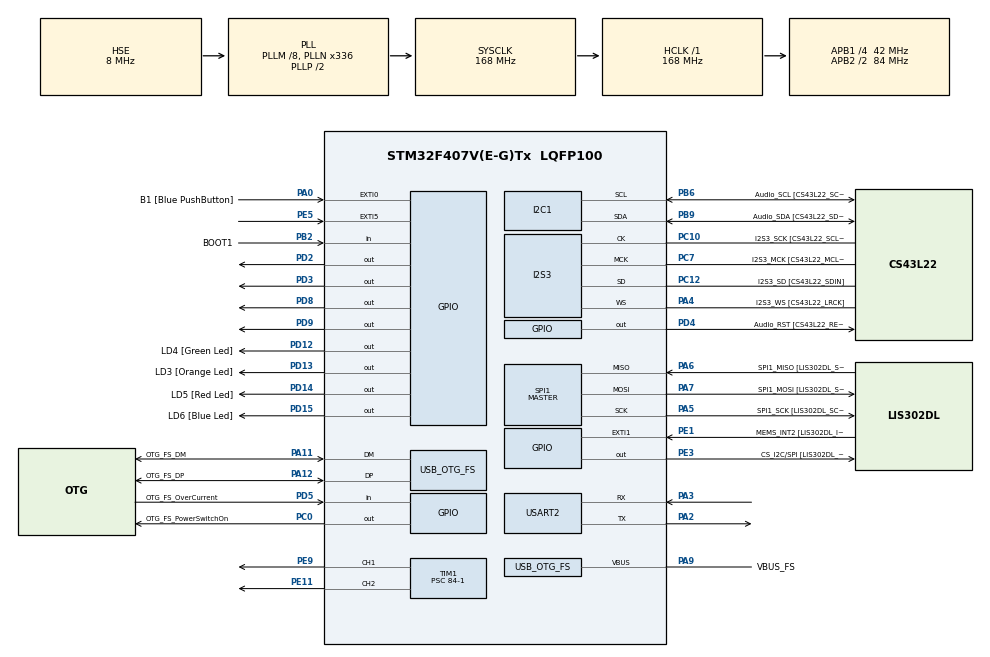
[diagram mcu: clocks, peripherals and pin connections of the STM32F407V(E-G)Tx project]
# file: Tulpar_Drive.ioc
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I2S3.AudioFreq-Half_Duplex_Master=I2S_AUDIOFREQ_96K
I2S3.ErrorAudioFreq=-2.34 %
I2S3.ErrorAudioFreq-Half_Duplex_Master=0.8 %
I2S3.FullDuplexMode=I2S_FULLDUPLEXMODE_DISABLE
I2S3.Instance=SPI$Index
I2S3.RealAudioFreq=93.75 KHz
I2S3.RealAudioFreq-Half_Duplex_Master=96.774 KHz
I2S3.VirtualMode=I2S_MODE_MASTER
Mcu.Family=STM32F4
Mcu.Name=STM32F407V(E-G)Tx
Mcu.Package=LQFP100
NVIC.EXTI9_5_IRQn=true\:0\:0\:false\:false\:true\:true\:true\:true
NVIC.OTG_FS_IRQn=true\:0\:0\:false\:false\:true\:true\:true\:true
NVIC.PriorityGroup=NVIC_PRIORITYGROUP_0
PA0-WKUP.GPIO_Label=B1 [Blue PushButton]
PA0-WKUP.GPIO_ModeDefaultEXTI=GPIO_MODE_EVT_RISING
PA0-WKUP.GPIO_PuPd=GPIO_NOPULL
PA0-WKUP.Signal=GPXTI0
PA10.GPIO_Label=OTG_FS_ID
PA10.GPIO_Mode=GPIO_MODE_AF_PP
PA10.GPIO_PuPd=GPIO_NOPULL
PA10.GPIO_Speed=GPIO_SPEED_FREQ_LOW
PA10.Signal=USB_OTG_FS_ID
PA11.GPIO_Label=OTG_FS_DM
PA11.GPIO_Mode=GPIO_MODE_AF_PP
PA11.GPIO_PuPd=GPIO_NOPULL
PA11.GPIO_Speed=GPIO_SPEED_FREQ_LOW
PA11.Mode=Host_Only
PA11.Signal=USB_OTG_FS_DM
PA12.GPIO_Label=OTG_FS_DP
PA12.GPIO_Mode=GPIO_MODE_AF_PP
PA12.GPIO_PuPd=GPIO_NOPULL
PA12.GPIO_Speed=GPIO_SPEED_FREQ_LOW
PA12.Mode=Host_Only
PA12.Signal=USB_OTG_FS_DP
PA13.GPIO_Label=SWDIO
PA13.Mode=Serial_Wire
PA13.Signal=SYS_JTMS-SWDIO
PA14.GPIO_Label=SWCLK
PA14.Mode=Serial_Wire
PA14.Signal=SYS_JTCK-SWCLK
PA2.Mode=Asynchronous
PA2.Signal=USART2_TX
PA3.Mode=Asynchronous
PA3.Signal=USART2_RX
PA4.GPIO_Label=I2S3_WS [CS43L22_LRCK]
PA4.GPIO_Mode=GPIO_MODE_AF_PP
PA4.GPIO_PuPd=GPIO_NOPULL
PA4.GPIO_Speed=GPIO_SPEED_FREQ_LOW
PA4.Mode=Half_Duplex_Master
PA4.Signal=I2S3_WS
PA5.GPIO_Label=SPI1_SCK [LIS302DL_SCL/SPC]
PA5.GPIO_Mode=GPIO_MODE_AF_PP
PA5.GPIO_PuPd=GPIO_NOPULL
PA5.GPIO_Speed=GPIO_SPEED_FREQ_LOW
PA5.Mode=Full_Duplex_Master
PA5.Signal=SPI1_SCK
PA6.GPIO_Label=SPI1_MISO [LIS302DL_SDO]
PA6.GPIO_Mode=GPIO_MODE_AF_PP
PA6.GPIO_PuPd=GPIO_NOPULL
PA6.GPIO_Speed=GPIO_SPEED_FREQ_LOW
PA6.Mode=Full_Duplex_Master
PA6.Signal=SPI1_MISO
PA7.GPIO_Label=SPI1_MOSI [LIS302DL_SDA/SDI/SDO]
PA7.GPIO_Mode=GPIO_MODE_AF_PP
PA7.GPIO_PuPd=GPIO_NOPULL
PA7.GPIO_Speed=GPIO_SPEED_FREQ_LOW
PA7.Mode=Full_Duplex_Master
PA7.Signal=SPI1_MOSI
PA9.GPIO_Label=VBUS_FS
PA9.GPIO_Mode=GPIO_MODE_INPUT
PA9.GPIO_PuPd=GPIO_NOPULL
PA9.Mode=Activate_VBUS
PA9.Signal=USB_OTG_FS_VBUS
PB10.GPIO_Label=CLK_IN [MP45DT02_CLK]
PB10.GPIO_Mode=GPIO_MODE_AF_PP
PB10.GPIO_PuPd=GPIO_NOPULL
PB10.GPIO_Speed=GPIO_SPEED_FREQ_LOW
PB10.Signal=I2S2_CK
PB2.GPIO_Label=BOOT1
PB2.GPIO_Mode=GPIO_MODE_INPUT
PB2.GPIO_PuPd=GPIO_NOPULL
PB2.Signal=GPIO_Input
PB3.GPIO_Label=SWO
PB3.Signal=SYS_JTDO-SWO
PB6.GPIO_Label=Audio_SCL [CS43L22_SCL]
PB6.GPIO_Mode=GPIO_MODE_AF_OD
PB6.GPIO_Pu=GPIO_PULLUP
PB6.GPIO_PuPd=GPIO_NOPULL
PB6.GPIO_Speed=GPIO_SPEED_FREQ_LOW
PB6.Mode=I2C
PB6.Signal=I2C1_SCL
PB9.GPIO_Label=Audio_SDA [CS43L22_SDA]
PB9.GPIO_Mode=GPIO_MODE_AF_OD
PB9.GPIO_Pu=GPIO_PULLUP
PB9.GPIO_PuPd=GPIO_NOPULL
PB9.GPIO_Speed=GPIO_SPEED_FREQ_LOW
PB9.Mode=I2C
PB9.Signal=I2C1_SDA
PC0.GPIO_Label=OTG_FS_PowerSwitchOn
PC0.GPIO_PuPd=GPIO_NOPULL
PC0.GPIO_Speed=GPIO_SPEED_FREQ_LOW
PC0.PinState=GPIO_PIN_SET
PC0.Signal=GPIO_Output
PC10.GPIO_Label=I2S3_SCK [CS43L22_SCLK]
PC10.GPIO_Mode=GPIO_MODE_AF_PP
PC10.GPIO_PuPd=GPIO_NOPULL
PC10.GPIO_Speed=GPIO_SPEED_FREQ_LOW
PC10.Mode=Half_Duplex_Master
PC10.Signal=I2S3_CK
PC12.GPIO_Label=I2S3_SD [CS43L22_SDIN]
PC12.GPIO_Mode=GPIO_MODE_AF_PP
PC12.GPIO_PuPd=GPIO_NOPULL
PC12.GPIO_Speed=GPIO_SPEED_FREQ_LOW
PC12.Mode=Half_Duplex_Master
PC12.Signal=I2S3_SD
PC14-OSC32_IN.GPIO_Label=PC14-OSC32_IN
PC14-OSC32_IN.Mode=LSE-External-Oscillator
PC14-OSC32_IN.Signal=RCC_OSC32_IN
PC15-OSC32_OUT.GPIO_Label=PC15-OSC32_OUT
PC15-OSC32_OUT.Mode=LSE-External-Oscillator
PC15-OSC32_OUT.Signal=RCC_OSC32_OUT
PC3.GPIO_Label=PDM_OUT [MP45DT02_DOUT]
PC3.GPIO_Mode=GPIO_MODE_AF_PP
PC3.GPIO_PuPd=GPIO_NOPULL
PC3.GPIO_Speed=GPIO_SPEED_FREQ_LOW
PC3.Signal=I2S2_SD
PC7.GPIO_Label=I2S3_MCK [CS43L22_MCLK]
PC7.GPIO_Mode=GPIO_MODE_AF_PP
PC7.GPIO_PuPd=GPIO_NOPULL
PC7.GPIO_Speed=GPIO_SPEED_FREQ_LOW
PC7.Mode=Master_Clock_Activated
PC7.Signal=I2S3_MCK
PD12.GPIO_Label=LD4 [Green Led]
PD12.GPIO_PuPd=GPIO_NOPULL
PD12.GPIO_Speed=GPIO_SPEED_FREQ_LOW
PD12.Signal=GPIO_Output
PD13.GPIO_Label=LD3 [Orange Led]
PD13.GPIO_PuPd=GPIO_NOPULL
PD13.GPIO_Speed=GPIO_SPEED_FREQ_LOW
PD13.Signal=GPIO_Output
PD14.GPIO_Label=LD5 [Red Led]
PD14.GPIO_PuPd=GPIO_NOPULL
PD14.GPIO_Speed=GPIO_SPEED_FREQ_LOW
PD14.Signal=GPIO_Output
PD15.GPIO_Label=LD6 [Blue Led]
PD15.GPIO_PuPd=GPIO_NOPULL
PD15.GPIO_Speed=GPIO_SPEED_FREQ_LOW
PD15.Signal=GPIO_Output
PD2.Signal=GPIO_Output
PD3.Signal=GPIO_Output
PD4.GPIO_Label=Audio_RST [CS43L22_RESET]
PD4.GPIO_PuPd=GPIO_NOPULL
PD4.GPIO_Speed=GPIO_SPEED_FREQ_LOW
PD4.Signal=GPIO_Output
PD5.GPIO_Label=OTG_FS_OverCurrent
PD5.GPIO_Mode=GPIO_MODE_INPUT
PD5.GPIO_PuPd=GPIO_NOPULL
PD5.Signal=GPIO_Input
PD8.Signal=GPIO_Output
PD9.Signal=GPIO_Output
PE1.GPIO_Label=MEMS_INT2 [LIS302DL_INT2]
PE1.GPIO_ModeDefaultEXTI=GPIO_MODE_EVT_RISING
PE1.GPIO_PuPd=GPIO_NOPULL
PE1.Signal=GPXTI1
PE11.Signal=S_TIM1_CH2
PE3.GPIO_Label=CS_I2C/SPI [LIS302DL_CS_I2C/SPI]
PE3.GPIO_PuPd=GPIO_NOPULL
PE3.GPIO_Speed=GPIO_SPEED_FREQ_LOW
PE3.Signal=GPIO_Output
PE5.GPIO_ModeDefaultEXTI=GPIO_MODE_IT_RISING_FALLING
PE5.GPIO_PuPd=GPIO_PULLUP
PE5.Signal=GPXTI5
PE9.Signal=S_TIM1_CH1
PH0-OSC_IN.GPIO_Label=PH0-OSC_IN
PH0-OSC_IN.Mode=HSE-External-Oscillator
PH0-OSC_IN.Signal=RCC_OSC_IN
PH1-OSC_OUT.GPIO_Label=PH1-OSC_OUT
PH1-OSC_OUT.Mode=HSE-External-Oscillator
PH1-OSC_OUT.Signal=RCC_OSC_OUT
ProjectManager.HeapSize=0x200
ProjectManager.StackSize=0x400
ProjectManager.TargetToolchain=STM32CubeIDE
RCC.48MHZClocksFreq_Value=48000000
RCC.AHBFreq_Value=168000000
RCC.APB1CLKDivider=RCC_HCLK_DIV4
RCC.APB1Freq_Value=42000000
RCC.APB1TimFreq_Value=84000000
RCC.APB2CLKDivider=RCC_HCLK_DIV2
RCC.APB2Freq_Value=84000000
RCC.APB2TimFreq_Value=168000000
RCC.CortexFreq_Value=168000000
RCC.HCLKFreq_Value=168000000
RCC.HSE_VALUE=8000000
RCC.HSI_VALUE=16000000
RCC.PLLM=8
RCC.PLLN=336
RCC.PLLQ=7
RCC.SYSCLKFreq_VALUE=168000000
RCC.SYSCLKSource=RCC_SYSCLKSOURCE_PLLCLK
RCC.VCOOutputFreq_Value=336000000
SH.S_TIM1_CH1.0=TIM1_CH1,PWM Generation1 CH1
SH.S_TIM1_CH2.0=TIM1_CH2,PWM Generation2 CH2
SPI1.BaudRatePrescaler-Full_Duplex_Master=SPI_BAUDRATEPRESCALER_2
SPI1.CalculateBaudRate-Full_Duplex_Master=42.0 MBits/s
SPI1.Direction=SPI_DIRECTION_2LINES
SPI1.Mode=SPI_MODE_MASTER
SPI1.Mode-Full_Duplex_Master=SPI_MODE_MASTER
SPI1.VirtualType=VM_MASTER
TIM1.Channel-PWM\ Generation1\ CH1=TIM_CHANNEL_1
TIM1.Channel-PWM\ Generation2\ CH2=TIM_CHANNEL_2
TIM1.Period=125-1
TIM1.Prescaler=84-1
TIM2.AutoReloadPreload=TIM_AUTORELOAD_PRELOAD_DISABLE
USART2.VirtualMode=VM_ASYNC
USB_HOST.BSP.number=1
USB_HOST.USBH_HandleTypeDef-CDC_FS=hUsbHostFS
USB_HOST.VirtualModeFS=Cdc
USB_HOST0.BSP.STBoard=false
USB_HOST0.BSP.api=Unknown
USB_HOST0.BSP.instance=PC0
USB_HOST0.BSP.ip=GPIO
USB_HOST0.BSP.mode=Output
USB_HOST0.BSP.name=Drive_VBUS_FS
USB_HOST0.BSP.solution=PC0
USB_OTG_FS.VirtualMode=Host_Only
USB_OTG_FS.phy_itface=HCD_PHY_EMBEDDED
VP_TIM1_VS_ClockSourceINT.Mode=Internal
VP_TIM2_VS_ClockSourceINT.Mode=Internal
VP_USB_HOST_VS_USB_HOST_CDC_FS.Mode=CDC_FS
board=STM32F407G-DISC1

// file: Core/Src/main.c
/* USER CODE BEGIN Header */
/**
  ******************************************************************************
  * @file           : main.c
  * @brief          : Main program body
  ******************************************************************************
  * @attention
  *
  * Copyright (c) 2024 STMicroelectronics.
  * All rights reserved.
  *
  * This software is licensed under terms that can be found in the LICENSE file
  * in the root directory of this software component.
  * If no LICENSE file comes with this software, it is provided AS-IS.
  *
  ******************************************************************************
  */
/* USER CODE END Header */
#include "main.h"
#include "usb_host.h"

I2C_HandleTypeDef hi2c1;

I2S_HandleTypeDef hi2s3;

SPI_HandleTypeDef hspi1;

TIM_HandleTypeDef htim1;
TIM_HandleTypeDef htim2;

UART_HandleTypeDef huart2;

void SystemClock_Config(void);
static void MX_GPIO_Init(void);
static void MX_I2C1_Init(void);
static void MX_I2S3_Init(void);
static void MX_SPI1_Init(void);
static void MX_TIM1_Init(void);
static void MX_USART2_UART_Init(void);
static void MX_TIM2_Init(void);
void MX_USB_HOST_Process(void);

/* USER CODE BEGIN 0 */
extern volatile uint32_t starttime;
extern volatile uint32_t endtime;
extern volatile float pulsewidth;
extern volatile uint32_t count;
extern volatile uint32_t dutycycle;
uint32_t counter = 0;
uint32_t dutycycle_rewerse=0;
uint32_t dutycycle_forward=0;

/* USER CODE END 0 */

int main(void)
{

  /* MCU Configuration--------------------------------------------------------*/

  /* Reset of all peripherals, Initializes the Flash interface and the Systick. */
  HAL_Init();

  /* Configure the system clock */
  SystemClock_Config();

  /* Initialize all configured peripherals */
  MX_GPIO_Init();
  MX_I2C1_Init();
  MX_I2S3_Init();
  MX_SPI1_Init();
  MX_USB_HOST_Init();
  MX_TIM1_Init();
  MX_USART2_UART_Init();
  MX_TIM2_Init();
  /* USER CODE BEGIN 2 */
  HAL_TIM_Base_Start(&htim2);
  HAL_TIM_PWM_Start(&htim1, TIM_CHANNEL_1);
  /* USER CODE END 2 */

  /* Infinite loop */
  while (1)
  {
    MX_USB_HOST_Process();

    /* USER CODE BEGIN 3 */
    dutycycle=pulsewidth;

	if(dutycycle<=62)
	{
		if(dutycycle>0){
			  HAL_GPIO_WritePin(GPIOD, GPIO_PIN_9, SET); //REWERSE
			  HAL_GPIO_WritePin(GPIOD, GPIO_PIN_8, RESET);
			  dutycycle_rewerse=-((dutycycle*2)-125);//makes the value of the PWM between 0-125 gotten from joystick

			  __HAL_TIM_SET_COMPARE(&htim1 ,TIM_CHANNEL_1,dutycycle1);
			  counter++;
			}
	}

	if(dutycycle>62)
	  {
		  if(dutycycle<124)
		  {
			  HAL_GPIO_WritePin(GPIOD, GPIO_PIN_9, RESET); //FORWARD
			  HAL_GPIO_WritePin(GPIOD, GPIO_PIN_8, SET);
			  dutycycle_forward=(dutycycle-62)*2;

			  __HAL_TIM_SET_COMPARE(&htim1,TIM_CHANNEL_1,dutycycle2);//makes the value of the PWM between 0-125 gotten from joystick
			  counter--;
		  }
	  }

  }
  /* USER CODE END 3 */
}

void SystemClock_Config(void)
{
  RCC_OscInitTypeDef RCC_OscInitStruct = {0};
  RCC_ClkInitTypeDef RCC_ClkInitStruct = {0};

  /** Configure the main internal regulator output voltage
  */
  __HAL_RCC_PWR_CLK_ENABLE();
  __HAL_PWR_VOLTAGESCALING_CONFIG(PWR_REGULATOR_VOLTAGE_SCALE1);

  /** Initializes the RCC Oscillators according to the specified parameters
  * in the RCC_OscInitTypeDef structure.
  */
  RCC_OscInitStruct.OscillatorType = RCC_OSCILLATORTYPE_HSE;
  RCC_OscInitStruct.HSEState = RCC_HSE_ON;
  RCC_OscInitStruct.PLL.PLLState = RCC_PLL_ON;
  RCC_OscInitStruct.PLL.PLLSource = RCC_PLLSOURCE_HSE;
  RCC_OscInitStruct.PLL.PLLM = 8;
  RCC_OscInitStruct.PLL.PLLN = 336;
  RCC_OscInitStruct.PLL.PLLP = RCC_PLLP_DIV2;
  RCC_OscInitStruct.PLL.PLLQ = 7;
  if (HAL_RCC_OscConfig(&RCC_OscInitStruct) != HAL_OK)
  {
    Error_Handler();
  }

  /** Initializes the CPU, AHB and APB buses clocks
  */
  RCC_ClkInitStruct.ClockType = RCC_CLOCKTYPE_HCLK|RCC_CLOCKTYPE_SYSCLK
                              |RCC_CLOCKTYPE_PCLK1|RCC_CLOCKTYPE_PCLK2;
  RCC_ClkInitStruct.SYSCLKSource = RCC_SYSCLKSOURCE_PLLCLK;
  RCC_ClkInitStruct.AHBCLKDivider = RCC_SYSCLK_DIV1;
  RCC_ClkInitStruct.APB1CLKDivider = RCC_HCLK_DIV4;
  RCC_ClkInitStruct.APB2CLKDivider = RCC_HCLK_DIV2;

  if (HAL_RCC_ClockConfig(&RCC_ClkInitStruct, FLASH_LATENCY_5) != HAL_OK)
  {
    Error_Handler();
  }
}

static void MX_I2C1_Init(void)
{

  hi2c1.Instance = I2C1;
  hi2c1.Init.ClockSpeed = 100000;
  hi2c1.Init.DutyCycle = I2C_DUTYCYCLE_2;
  hi2c1.Init.OwnAddress1 = 0;
  hi2c1.Init.AddressingMode = I2C_ADDRESSINGMODE_7BIT;
  hi2c1.Init.DualAddressMode = I2C_DUALADDRESS_DISABLE;
  hi2c1.Init.OwnAddress2 = 0;
  hi2c1.Init.GeneralCallMode = I2C_GENERALCALL_DISABLE;
  hi2c1.Init.NoStretchMode = I2C_NOSTRETCH_DISABLE;
  if (HAL_I2C_Init(&hi2c1) != HAL_OK)
  {
    Error_Handler();
  }

}

static void MX_I2S3_Init(void)
{

  hi2s3.Instance = SPI3;
  hi2s3.Init.Mode = I2S_MODE_MASTER_TX;
  hi2s3.Init.Standard = I2S_STANDARD_PHILIPS;
  hi2s3.Init.DataFormat = I2S_DATAFORMAT_16B;
  hi2s3.Init.MCLKOutput = I2S_MCLKOUTPUT_ENABLE;
  hi2s3.Init.AudioFreq = I2S_AUDIOFREQ_96K;
  hi2s3.Init.CPOL = I2S_CPOL_LOW;
  hi2s3.Init.ClockSource = I2S_CLOCK_PLL;
  hi2s3.Init.FullDuplexMode = I2S_FULLDUPLEXMODE_DISABLE;
  if (HAL_I2S_Init(&hi2s3) != HAL_OK)
  {
    Error_Handler();
  }

}

static void MX_SPI1_Init(void)
{

  /* SPI1 parameter configuration*/
  hspi1.Instance = SPI1;
  hspi1.Init.Mode = SPI_MODE_MASTER;
  hspi1.Init.Direction = SPI_DIRECTION_2LINES;
  hspi1.Init.DataSize = SPI_DATASIZE_8BIT;
  hspi1.Init.CLKPolarity = SPI_POLARITY_LOW;
  hspi1.Init.CLKPhase = SPI_PHASE_1EDGE;
  hspi1.Init.NSS = SPI_NSS_SOFT;
  hspi1.Init.BaudRatePrescaler = SPI_BAUDRATEPRESCALER_2;
  hspi1.Init.FirstBit = SPI_FIRSTBIT_MSB;
  hspi1.Init.TIMode = SPI_TIMODE_DISABLE;
  hspi1.Init.CRCCalculation = SPI_CRCCALCULATION_DISABLE;
  hspi1.Init.CRCPolynomial = 10;
  if (HAL_SPI_Init(&hspi1) != HAL_OK)
  {
    Error_Handler();
  }

}

static void MX_TIM1_Init(void)
{

  TIM_ClockConfigTypeDef sClockSourceConfig = {0};
  TIM_MasterConfigTypeDef sMasterConfig = {0};
  TIM_OC_InitTypeDef sConfigOC = {0};
  TIM_BreakDeadTimeConfigTypeDef sBreakDeadTimeConfig = {0};

  htim1.Instance = TIM1;
  htim1.Init.Prescaler = 84-1;
  htim1.Init.CounterMode = TIM_COUNTERMODE_UP;
  htim1.Init.Period = 125-1;
  htim1.Init.ClockDivision = TIM_CLOCKDIVISION_DIV1;
  htim1.Init.RepetitionCounter = 0;
  htim1.Init.AutoReloadPreload = TIM_AUTORELOAD_PRELOAD_DISABLE;
  if (HAL_TIM_Base_Init(&htim1) != HAL_OK)
  {
    Error_Handler();
  }
  sClockSourceConfig.ClockSource = TIM_CLOCKSOURCE_INTERNAL;
  if (HAL_TIM_ConfigClockSource(&htim1, &sClockSourceConfig) != HAL_OK)
  {
    Error_Handler();
  }
  if (HAL_TIM_PWM_Init(&htim1) != HAL_OK)
  {
    Error_Handler();
  }
  sMasterConfig.MasterOutputTrigger = TIM_TRGO_RESET;
  sMasterConfig.MasterSlaveMode = TIM_MASTERSLAVEMODE_DISABLE;
  if (HAL_TIMEx_MasterConfigSynchronization(&htim1, &sMasterConfig) != HAL_OK)
  {
    Error_Handler();
  }
  sConfigOC.OCMode = TIM_OCMODE_PWM1;
  sConfigOC.Pulse = 0;
  sConfigOC.OCPolarity = TIM_OCPOLARITY_HIGH;
  sConfigOC.OCNPolarity = TIM_OCNPOLARITY_HIGH;
  sConfigOC.OCFastMode = TIM_OCFAST_DISABLE;
  sConfigOC.OCIdleState = TIM_OCIDLESTATE_RESET;
  sConfigOC.OCNIdleState = TIM_OCNIDLESTATE_RESET;
  if (HAL_TIM_PWM_ConfigChannel(&htim1, &sConfigOC, TIM_CHANNEL_1) != HAL_OK)
  {
    Error_Handler();
  }
  if (HAL_TIM_PWM_ConfigChannel(&htim1, &sConfigOC, TIM_CHANNEL_2) != HAL_OK)
  {
    Error_Handler();
  }
  sBreakDeadTimeConfig.OffStateRunMode = TIM_OSSR_DISABLE;
  sBreakDeadTimeConfig.OffStateIDLEMode = TIM_OSSI_DISABLE;
  sBreakDeadTimeConfig.LockLevel = TIM_LOCKLEVEL_OFF;
  sBreakDeadTimeConfig.DeadTime = 0;
  sBreakDeadTimeConfig.BreakState = TIM_BREAK_DISABLE;
  sBreakDeadTimeConfig.BreakPolarity = TIM_BREAKPOLARITY_HIGH;
  sBreakDeadTimeConfig.AutomaticOutput = TIM_AUTOMATICOUTPUT_DISABLE;
  if (HAL_TIMEx_ConfigBreakDeadTime(&htim1, &sBreakDeadTimeConfig) != HAL_OK)
  {
    Error_Handler();
  }
  HAL_TIM_MspPostInit(&htim1);

}

static void MX_TIM2_Init(void)
{

  TIM_ClockConfigTypeDef sClockSourceConfig = {0};
  TIM_MasterConfigTypeDef sMasterConfig = {0};

  htim2.Instance = TIM2;
  htim2.Init.Prescaler = 0;
  htim2.Init.CounterMode = TIM_COUNTERMODE_UP;
  htim2.Init.Period = 4294967295;
  htim2.Init.ClockDivision = TIM_CLOCKDIVISION_DIV1;
  htim2.Init.AutoReloadPreload = TIM_AUTORELOAD_PRELOAD_DISABLE;
  if (HAL_TIM_Base_Init(&htim2) != HAL_OK)
  {
    Error_Handler();
  }
  sClockSourceConfig.ClockSource = TIM_CLOCKSOURCE_INTERNAL;
  if (HAL_TIM_ConfigClockSource(&htim2, &sClockSourceConfig) != HAL_OK)
  {
    Error_Handler();
  }
  sMasterConfig.MasterOutputTrigger = TIM_TRGO_RESET;
  sMasterConfig.MasterSlaveMode = TIM_MASTERSLAVEMODE_DISABLE;
  if (HAL_TIMEx_MasterConfigSynchronization(&htim2, &sMasterConfig) != HAL_OK)
  {
    Error_Handler();
  }

}

static void MX_USART2_UART_Init(void)
{

  huart2.Instance = USART2;
  huart2.Init.BaudRate = 115200;
  huart2.Init.WordLength = UART_WORDLENGTH_8B;
  huart2.Init.StopBits = UART_STOPBITS_1;
  huart2.Init.Parity = UART_PARITY_NONE;
  huart2.Init.Mode = UART_MODE_TX_RX;
  huart2.Init.HwFlowCtl = UART_HWCONTROL_NONE;
  huart2.Init.OverSampling = UART_OVERSAMPLING_16;
  if (HAL_UART_Init(&huart2) != HAL_OK)
  {
    Error_Handler();
  }

}

static void MX_GPIO_Init(void)
{
  GPIO_InitTypeDef GPIO_InitStruct = {0};

  /* GPIO Ports Clock Enable */
  __HAL_RCC_GPIOE_CLK_ENABLE();
  __HAL_RCC_GPIOC_CLK_ENABLE();
  __HAL_RCC_GPIOH_CLK_ENABLE();
  __HAL_RCC_GPIOA_CLK_ENABLE();
  __HAL_RCC_GPIOB_CLK_ENABLE();
  __HAL_RCC_GPIOD_CLK_ENABLE();

  /*Configure GPIO pin Output Level */
  HAL_GPIO_WritePin(CS_I2C_SPI_GPIO_Port, CS_I2C_SPI_Pin, GPIO_PIN_RESET);

  /*Configure GPIO pin Output Level */
  HAL_GPIO_WritePin(OTG_FS_PowerSwitchOn_GPIO_Port, OTG_FS_PowerSwitchOn_Pin, GPIO_PIN_SET);

  /*Configure GPIO pin Output Level */
  HAL_GPIO_WritePin(GPIOD, GPIO_PIN_8|GPIO_PIN_9|LD4_Pin|LD3_Pin
                          |LD5_Pin|LD6_Pin|GPIO_PIN_2|GPIO_PIN_3
                          |Audio_RST_Pin, GPIO_PIN_RESET);

  /*Configure GPIO pin : CS_I2C_SPI_Pin */
  GPIO_InitStruct.Pin = CS_I2C_SPI_Pin;
  GPIO_InitStruct.Mode = GPIO_MODE_OUTPUT_PP;
  GPIO_InitStruct.Pull = GPIO_NOPULL;
  GPIO_InitStruct.Speed = GPIO_SPEED_FREQ_LOW;
  HAL_GPIO_Init(CS_I2C_SPI_GPIO_Port, &GPIO_InitStruct);

  /*Configure GPIO pin : PE5 */
  GPIO_InitStruct.Pin = GPIO_PIN_5;
  GPIO_InitStruct.Mode = GPIO_MODE_IT_RISING_FALLING;
  GPIO_InitStruct.Pull = GPIO_PULLUP;
  HAL_GPIO_Init(GPIOE, &GPIO_InitStruct);

  /*Configure GPIO pin : OTG_FS_PowerSwitchOn_Pin */
  GPIO_InitStruct.Pin = OTG_FS_PowerSwitchOn_Pin;
  GPIO_InitStruct.Mode = GPIO_MODE_OUTPUT_PP;
  GPIO_InitStruct.Pull = GPIO_NOPULL;
  GPIO_InitStruct.Speed = GPIO_SPEED_FREQ_LOW;
  HAL_GPIO_Init(OTG_FS_PowerSwitchOn_GPIO_Port, &GPIO_InitStruct);

  /*Configure GPIO pin : PDM_OUT_Pin */
  GPIO_InitStruct.Pin = PDM_OUT_Pin;
  GPIO_InitStruct.Mode = GPIO_MODE_AF_PP;
  GPIO_InitStruct.Pull = GPIO_NOPULL;
  GPIO_InitStruct.Speed = GPIO_SPEED_FREQ_LOW;
  GPIO_InitStruct.Alternate = GPIO_AF5_SPI2;
  HAL_GPIO_Init(PDM_OUT_GPIO_Port, &GPIO_InitStruct);

  /*Configure GPIO pin : B1_Pin */
  GPIO_InitStruct.Pin = B1_Pin;
  GPIO_InitStruct.Mode = GPIO_MODE_EVT_RISING;
  GPIO_InitStruct.Pull = GPIO_NOPULL;
  HAL_GPIO_Init(B1_GPIO_Port, &GPIO_InitStruct);

  /*Configure GPIO pin : BOOT1_Pin */
  GPIO_InitStruct.Pin = BOOT1_Pin;
  GPIO_InitStruct.Mode = GPIO_MODE_INPUT;
  GPIO_InitStruct.Pull = GPIO_NOPULL;
  HAL_GPIO_Init(BOOT1_GPIO_Port, &GPIO_InitStruct);

  /*Configure GPIO pin : CLK_IN_Pin */
  GPIO_InitStruct.Pin = CLK_IN_Pin;
  GPIO_InitStruct.Mode = GPIO_MODE_AF_PP;
  GPIO_InitStruct.Pull = GPIO_NOPULL;
  GPIO_InitStruct.Speed = GPIO_SPEED_FREQ_LOW;
  GPIO_InitStruct.Alternate = GPIO_AF5_SPI2;
  HAL_GPIO_Init(CLK_IN_GPIO_Port, &GPIO_InitStruct);

  /*Configure GPIO pins : PD8 PD9 LD4_Pin LD3_Pin
                           LD5_Pin LD6_Pin PD2 PD3
                           Audio_RST_Pin */
  GPIO_InitStruct.Pin = GPIO_PIN_8|GPIO_PIN_9|LD4_Pin|LD3_Pin
                          |LD5_Pin|LD6_Pin|GPIO_PIN_2|GPIO_PIN_3
                          |Audio_RST_Pin;
  GPIO_InitStruct.Mode = GPIO_MODE_OUTPUT_PP;
  GPIO_InitStruct.Pull = GPIO_NOPULL;
  GPIO_InitStruct.Speed = GPIO_SPEED_FREQ_LOW;
  HAL_GPIO_Init(GPIOD, &GPIO_InitStruct);

  /*Configure GPIO pin : OTG_FS_OverCurrent_Pin */
  GPIO_InitStruct.Pin = OTG_FS_OverCurrent_Pin;
  GPIO_InitStruct.Mode = GPIO_MODE_INPUT;
  GPIO_InitStruct.Pull = GPIO_NOPULL;
  HAL_GPIO_Init(OTG_FS_OverCurrent_GPIO_Port, &GPIO_InitStruct);

  /*Configure GPIO pin : MEMS_INT2_Pin */
  GPIO_InitStruct.Pin = MEMS_INT2_Pin;
  GPIO_InitStruct.Mode = GPIO_MODE_EVT_RISING;
  GPIO_InitStruct.Pull = GPIO_NOPULL;
  HAL_GPIO_Init(MEMS_INT2_GPIO_Port, &GPIO_InitStruct);

  /* EXTI interrupt init*/
  HAL_NVIC_SetPriority(EXTI9_5_IRQn, 0, 0);
  HAL_NVIC_EnableIRQ(EXTI9_5_IRQn);

}

void Error_Handler(void)
{
  __disable_irq();
  while (1)
  {
  }
}
